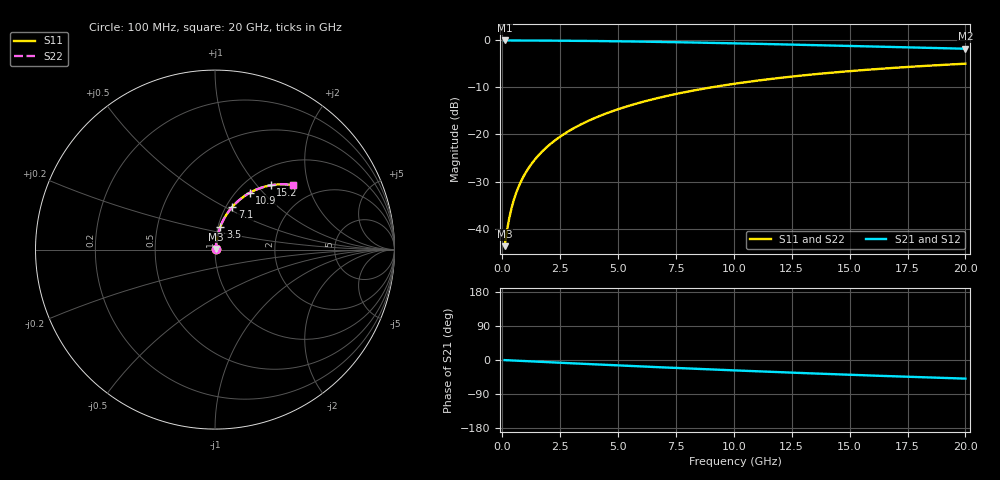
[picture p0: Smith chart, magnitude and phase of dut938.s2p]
! Touchstone file exported from HFSS 2026.1.0
!  File:  C:/ffzhzh/LocalFiles/Ansys_Project_Files/temp_train_BSMRDL_938_1783172021_22436.aedt
!  Generated:  09:34:51 PM Jul  4, 2026
!  Design:  BSMRDL
!  Project:  temp_train_BSMRDL_938_1783172021_22436
! Variables:
!  h_bsmrdl = 3.49um
!  h_ox = 20um
!  h_rdl = 5um
!  h_sub = 80um
!  h_tmrdl = 5um
!  h_tsv = 80um
!  h_via = 3um
!  l_bsmrdl = 629.38um
!  l_sub = 1029.38um
!  l_tmrdl = 200um
!  m_sub = 200um
!  pitch = 58.04um
!  r_tsv = 6um
!  s_tmrdl = 10um
!  w_bsmrdl = 12.37um
!  w_sub = 500um
!  w_tmrdl = 12um
!  x_tsv_center1 = 206um
!  x_tsv_center2 = 847.75um
!  x_tsv_center3 = 1059.75um
!  x_tsv_center4 = 1701.5um
!  x_tsv_center5 = 1913.5um
!  x_tsv_center6 = 2555.25um
# GHz S MA R 50.000000
! Terminal data exported
! Port[1] = BSM_RDL1_1_T1
! Port[2] = BSM_RDL1_1_T2
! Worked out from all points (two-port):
!   200 points, 100 MHz to 20 GHz, reference 50 ohm
!   highest |S21| = -0.05 dB at 100 MHz (marker M1); lowest = -1.8 dB at 20 GHz (marker M2)
!   |S21| within 3 dB of the highest: start of sweep to end of sweep
!   lowest |S11| = -43.7 dB at 100 MHz (marker M3), VSWR 1.01, Z = 50.5 + j0.397 ohm
!   |S11| at or under -10 dB: start of sweep to 9.028 GHz
!   |S22| runs from -43.7 to -5.0 dB; largest |S21 - S12| = 2.1e-15
!   S11 on the Smith chart (normalised r, x): 100 MHz: 1.01, +0.01; 3.5 GHz: 1.03, +0.27; 7.1 GHz: 1.07, +0.54; 10.9 GHz: 1.15, +0.84; 15.2 GHz: 1.28, +1.19; 20 GHz: 1.52, +1.60
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0.1  0.006528 37.0  0.9948 -0.3  0.9948 -0.3  0.006528 37.0
! Gamma 0 0 0 0
! Port Impedance 50 0 50 0
0.2  0.009477 55.7  0.9947 -0.6  0.9947 -0.6  0.009477 55.7
0.3  0.01294 64.7  0.9946 -0.9  0.9946 -0.9  0.01294 64.7
0.4  0.01658 69.7  0.9944 -1.2  0.9944 -1.2  0.01658 69.7
0.5  0.02028 72.7  0.9943 -1.5  0.9943 -1.5  0.02028 72.7
0.6  0.024 74.7  0.9941 -1.8  0.9941 -1.8  0.024 74.7
0.8  0.03147 77.0  0.9937 -2.3  0.9937 -2.3  0.03147 77.0
1.1  0.04269 78.7  0.9931 -3.2  0.9931 -3.2  0.04269 78.7
1.5  0.05766 79.5  0.9922 -4.4  0.9922 -4.4  0.05766 79.5
2.1  0.08007 79.3  0.9904 -6.1  0.9904 -6.1  0.08007 79.3
2.7  0.1023 78.4  0.9881 -7.8  0.9881 -7.8  0.1023 78.4
3.5  0.1317 76.8  0.9842 -10.1  0.9842 -10.1  0.1317 76.8
5  0.1853 73.3  0.9747 -14.2  0.9747 -14.2  0.1853 73.3
6.8  0.2463 68.7  0.96 -19.1  0.96 -19.1  0.2463 68.7
7.1  0.2561 68.0  0.9573 -19.9  0.9573 -19.9  0.2561 68.0
8.5  0.3003 64.5  0.9436 -23.6  0.9436 -23.6  0.3003 64.5
10.1  0.3474 60.6  0.9266 -27.6  0.9266 -27.6  0.3474 60.6
10.9  0.3697 58.7  0.9177 -29.6  0.9177 -29.6  0.3697 58.7
13.4  0.4336 53.0  0.8887 -35.4  0.8887 -35.4  0.4336 52.9
15.2  0.4744 49.1  0.8675 -39.4  0.8675 -39.4  0.4744 49.0
16.7  0.5052 46.0  0.8499 -42.6  0.8499 -42.6  0.5052 45.9
20  0.5636 39.6  0.8127 -49.1  0.8127 -49.1  0.5635 39.5
